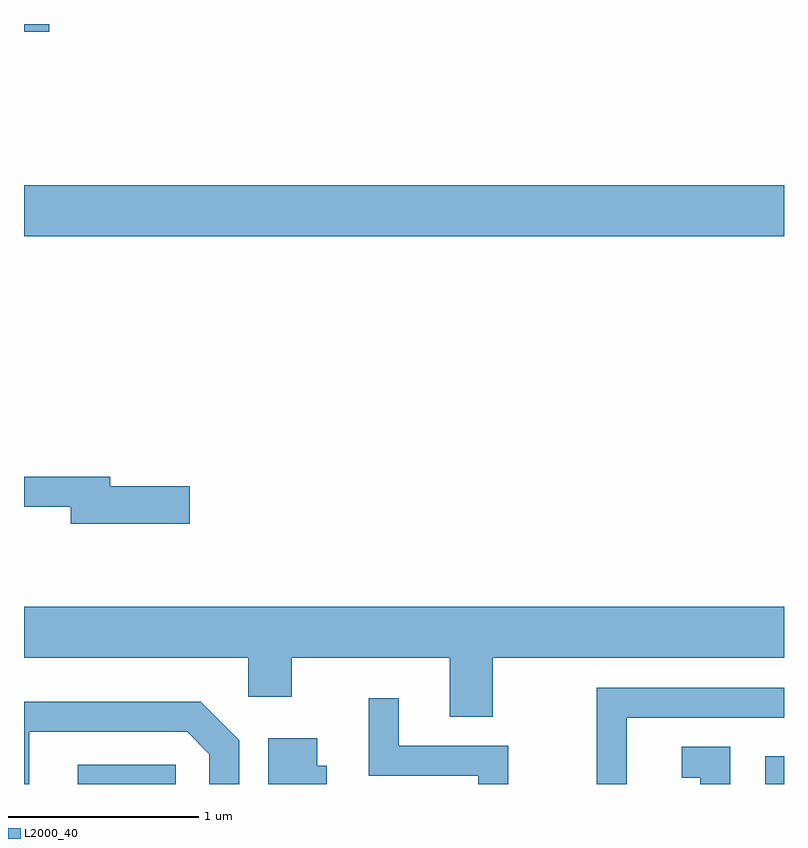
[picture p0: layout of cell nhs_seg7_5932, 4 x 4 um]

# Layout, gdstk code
import gdstk
lib = gdstk.Library(unit=1e-6, precision=1e-09)
def R(c, l, rs):  # rectangles x0, y0, x1, y1
    for r in rs: c.add(gdstk.rectangle(r[:2], r[2:], *l))
def P(c, l, *ps):  # polygons
    for p in ps: c.add(gdstk.Polygon(p, *l))
L2000_40 = (2000, 40)

nhs_seg7_5932 = lib.new_cell('nhs_seg7_5932')
R(nhs_seg7_5932, L2000_40, [(365.893,1780.252,366.409,1780.354), (369.511,1780.252,369.611,1780.399), (365.611,1783.136,369.611,1783.404), (365.611,1784.211,365.744,1784.252)])
P(nhs_seg7_5932, L2000_40, [(366.484,1781.819),(366.064,1781.819),(366.064,1781.869),(365.611,1781.869),(365.611,1781.711),(365.856,1781.711),(365.856,1781.621),(366.484,1781.621)],
  [(365.611,1780.916),(366.791,1780.916),(366.791,1780.711),(367.019,1780.711),(367.019,1780.916),(367.851,1780.916),(367.851,1780.606),(368.079,1780.606),(368.079,1780.916),(369.611,1780.916),(369.611,1781.184),(365.611,1781.184)],
  [(368.784,1780.601),(369.611,1780.601),(369.611,1780.759),(368.626,1780.759),(368.626,1780.252),(368.784,1780.252)],
  [(368.159,1780.454),(367.584,1780.454),(367.584,1780.703),(367.426,1780.703),(367.426,1780.296),(368.001,1780.296),(368.001,1780.252),(368.159,1780.252)],
  [(365.639,1780.526),(366.469,1780.526),(366.586,1780.409),(366.586,1780.252),(366.744,1780.252),(366.744,1780.482),(366.542,1780.684),(365.611,1780.684),(365.611,1780.252),(365.639,1780.252)],
  [(367.204,1780.349),(367.154,1780.349),(367.154,1780.494),(366.896,1780.494),(366.896,1780.252),(367.204,1780.252)],
  [(369.329,1780.449),(369.073,1780.449),(369.073,1780.286),(369.171,1780.286),(369.171,1780.252),(369.329,1780.252)])

lib.write_gds('nhs_seg7_5932.gds')
